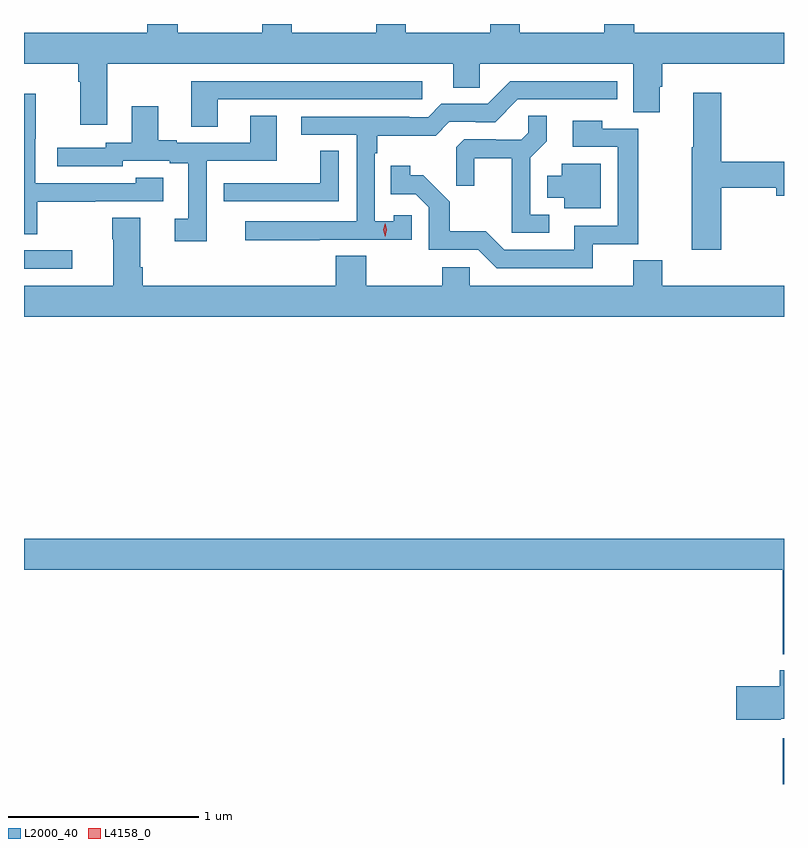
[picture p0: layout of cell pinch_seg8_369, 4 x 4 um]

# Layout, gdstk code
import gdstk
lib = gdstk.Library(unit=1e-6, precision=1e-09)
def R(c, l, rs):  # rectangles x0, y0, x1, y1
    for r in rs: c.add(gdstk.rectangle(r[:2], r[2:], *l))
def P(c, l, *ps):  # polygons
    for p in ps: c.add(gdstk.Polygon(p, *l))
L2000_40 = (2000, 40)
L4158_0 = (4158, 0)

pinch_seg8_369 = lib.new_cell('pinch_seg8_369')
R(pinch_seg8_369, L2000_40, [(416.016,1096.725,416.022,1096.966), (412.022,1099.437,412.276,1099.533)])
P(pinch_seg8_369, L2000_40, [(412.459,1100.516),(414.281,1100.516),(414.281,1100.389),(414.42,1100.389),(414.42,1100.516),(415.229,1100.516),(415.229,1100.26),(415.369,1100.26),(415.369,1100.394),(415.382,1100.394),(415.382,1100.516),(416.022,1100.516),(416.022,1100.68),(415.235,1100.68),(415.235,1100.725),(415.075,1100.725),(415.075,1100.68),(414.63,1100.68),(414.63,1100.725),(414.475,1100.725),(414.475,1100.68),(414.03,1100.68),(414.03,1100.725),(413.875,1100.725),(413.875,1100.68),(413.43,1100.68),(413.43,1100.725),(413.275,1100.725),(413.275,1100.68),(412.83,1100.68),(412.83,1100.725),(412.67,1100.725),(412.67,1100.68),(412.022,1100.68),(412.022,1100.516),(412.307,1100.516),(412.307,1100.42),(412.319,1100.42),(412.319,1100.196),(412.459,1100.196)],
  [(413.041,1100.328),(414.118,1100.328),(414.118,1100.424),(412.901,1100.424),(412.901,1100.185),(413.041,1100.185)],
  [(413.579,1099.59),(414.063,1099.59),(414.063,1099.719),(413.967,1099.719),(413.967,1099.687),(413.868,1099.687),(413.868,1100.045),(413.881,1100.045),(413.881,1100.138),(414.188,1100.138),(414.261,1100.211),(414.4,1100.211),(414.4,1100.208),(414.501,1100.208),(414.621,1100.328),(415.144,1100.328),(415.144,1100.424),(414.582,1100.424),(414.462,1100.304),(414.219,1100.304),(414.15,1100.235),(414.05,1100.235),(414.05,1100.238),(413.481,1100.238),(413.481,1100.142),(413.772,1100.142),(413.772,1099.686),(413.187,1099.686),(413.187,1099.588),(413.579,1099.588)],
  [(415.691,1099.864),(415.982,1099.864),(415.982,1099.822),(416.022,1099.822),(416.022,1100),(415.691,1100),(415.691,1100.362),(415.544,1100.362),(415.544,1100.077),(415.537,1100.077),(415.537,1099.536),(415.691,1099.536)],
  [(412.093,1099.789),(412.397,1099.789),(412.397,1099.791),(412.756,1099.791),(412.756,1099.915),(412.611,1099.915),(412.611,1099.887),(412.08,1099.887),(412.08,1100.12),(412.083,1100.12),(412.083,1100.359),(412.022,1100.359),(412.022,1099.618),(412.093,1099.618)],
  [(412.983,1100.004),(413.353,1100.004),(413.353,1100.243),(413.213,1100.243),(413.213,1100.1),(412.825,1100.1),(412.825,1100.113),(412.729,1100.113),(412.729,1100.293),(412.589,1100.293),(412.589,1100.1),(412.452,1100.1),(412.452,1100.073),(412.197,1100.073),(412.197,1099.977),(412.542,1099.977),(412.542,1100.004),(412.79,1100.004),(412.79,1099.992),(412.886,1099.992),(412.886,1099.701),(412.815,1099.701),(412.815,1099.581),(412.983,1099.581)],
  [(414.787,1099.722),(414.687,1099.722),(414.687,1100.021),(414.773,1100.107),(414.773,1100.243),(414.675,1100.243),(414.675,1100.152),(414.638,1100.115),(414.504,1100.115),(414.504,1100.118),(414.339,1100.118),(414.298,1100.077),(414.298,1099.875),(414.392,1099.875),(414.392,1100.018),(414.59,1100.018),(414.59,1099.626),(414.787,1099.626)],
  [(415.016,1099.566),(415.255,1099.566),(415.255,1100.175),(415.065,1100.175),(415.065,1100.215),(414.909,1100.215),(414.909,1100.079),(415.146,1100.079),(415.146,1099.662),(414.917,1099.662),(414.917,1099.536),(414.549,1099.536),(414.451,1099.635),(414.262,1099.635),(414.262,1099.79),(414.124,1099.928),(414.054,1099.928),(414.054,1099.978),(413.953,1099.978),(413.953,1099.83),(414.084,1099.83),(414.153,1099.761),(414.153,1099.536),(414.414,1099.536),(414.51,1099.44),(415.016,1099.44)],
  [(413.679,1100.057),(413.581,1100.057),(413.581,1099.887),(413.185,1099.887),(413.185,1099.886),(413.073,1099.886),(413.073,1099.791),(413.679,1099.791)],
  [(415.057,1099.99),(414.851,1099.99),(414.851,1099.927),(414.776,1099.927),(414.776,1099.811),(414.866,1099.811),(414.866,1099.754),(415.057,1099.754)],
  [(416.022,1099.348),(415.382,1099.348),(415.382,1099.481),(415.229,1099.481),(415.229,1099.348),(414.369,1099.348),(414.369,1099.446),(414.223,1099.446),(414.223,1099.348),(413.823,1099.348),(413.823,1099.505),(413.663,1099.505),(413.663,1099.348),(412.646,1099.348),(412.646,1099.444),(412.633,1099.444),(412.633,1099.705),(412.486,1099.705),(412.486,1099.592),(412.493,1099.592),(412.493,1099.348),(412.022,1099.348),(412.022,1099.184),(416.022,1099.184)],
  [(416.022,1098.016),(412.022,1098.016),(412.022,1097.852),(416.016,1097.852),(416.016,1097.408),(416.022,1097.408)],
  [(416.004,1097.069),(416.022,1097.069),(416.022,1097.323),(416,1097.323),(416,1097.24),(415.77,1097.24),(415.77,1097.062),(416.004,1097.062)])
P(pinch_seg8_369, L4158_0, [(413.922,1099.605),(413.922,1099.605),(413.912,1099.641),(413.922,1099.677),(413.922,1099.677),(413.922,1099.677),(413.932,1099.641),(413.922,1099.605)])

lib.write_gds('pinch_seg8_369.gds')
